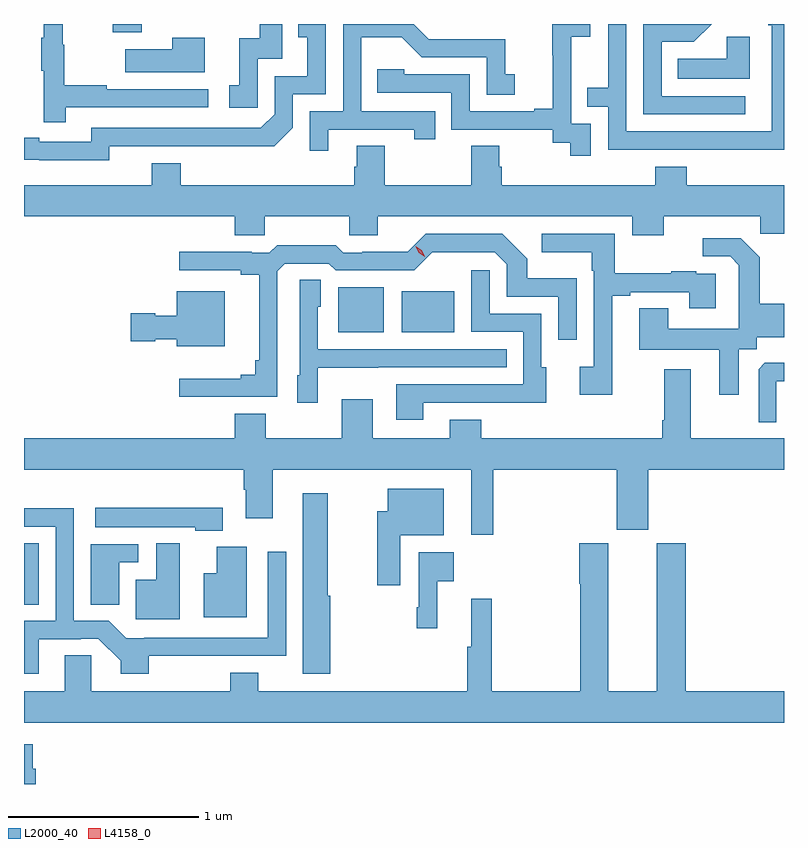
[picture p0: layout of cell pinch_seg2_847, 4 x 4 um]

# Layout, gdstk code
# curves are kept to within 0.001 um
import gdstk
lib = gdstk.Library(unit=1e-6, precision=1e-09)
def R(c, l, rs):  # rectangles x0, y0, x1, y1
    for r in rs: c.add(gdstk.rectangle(r[:2], r[2:], *l))
def P(c, l, *ps):  # polygons
    for p in ps: c.add(gdstk.Polygon(p, *l))
L2000_40 = (2000, 40)
L4158_0 = (4158, 0)

pinch_seg2_847 = lib.new_cell('pinch_seg2_847')
R(pinch_seg2_847, L2000_40, [(585.907,592.312,585.985,592.637), (587.561,593.747,587.8,593.983), (587.894,593.747,588.172,593.962), (586.373,595.326,586.526,595.369)])
P(pinch_seg2_847, L2000_40, [(587.509,594.813),(587.96,594.813),(587.96,594.762),(588.071,594.762),(588.071,594.909),(587.682,594.909),(587.682,595.298),(587.896,595.298),(588,595.194),(588.342,595.194),(588.342,594.996),(588.49,594.996),(588.49,595.105),(588.441,595.105),(588.441,595.29),(588.037,595.29),(587.958,595.369),(587.586,595.369),(587.586,594.909),(587.412,594.909),(587.412,594.702),(587.509,594.702)],
  [(586.356,594.726),(587.224,594.725),(587.322,594.822),(587.322,594.999),(587.496,594.999),(587.496,595.369),(587.35,595.369),(587.35,595.299),(587.399,595.299),(587.399,595.095),(587.226,595.095),(587.226,594.894),(587.154,594.822),(586.26,594.822),(586.26,594.75),(585.988,594.75),(585.988,594.77),(585.907,594.77),(585.907,594.654),(586.356,594.653)],
  [(589.702,594.99),(589.263,594.99),(589.263,595.275),(589.432,595.275),(589.526,595.369),(589.167,595.369),(589.167,594.894),(589.702,594.894)],
  [(587.136,595.185),(587.265,595.185),(587.265,595.369),(587.149,595.369),(587.149,595.294),(587.039,595.294),(587.039,595.047),(586.986,595.047),(586.986,594.927),(587.136,594.927)],
  [(589.907,595.369),(589.823,595.369),(589.823,595.362),(589.842,595.362),(589.842,594.804),(589.077,594.804),(589.077,595.369),(588.981,595.369),(588.981,595.034),(588.871,595.034),(588.871,594.933),(588.981,594.933),(588.981,594.708),(589.477,594.708),(589.477,594.707),(589.907,594.707)],
  [(588.891,594.843),(588.786,594.843),(588.786,595.073),(588.788,595.073),(588.788,595.301),(588.886,595.301),(588.886,595.369),(588.688,595.369),(588.688,595.205),(588.689,595.205),(588.689,594.922),(588.593,594.922),(588.593,594.909),(588.252,594.909),(588.252,595.104),(587.907,595.104),(587.907,595.131),(587.767,595.131),(587.767,595.008),(588.156,595.008),(588.156,594.813),(588.69,594.813),(588.69,594.745),(588.783,594.745),(588.783,594.675),(588.891,594.675)],
  [(586.127,594.93),(586.876,594.93),(586.876,595.026),(586.343,595.026),(586.343,595.046),(586.12,595.046),(586.12,595.26),(586.112,595.26),(586.112,595.369),(586.01,595.369),(586.01,595.297),(585.999,595.297),(585.999,595.123),(586.01,595.123),(586.01,594.852),(586.127,594.852)],
  [(589.726,595.301),(589.605,595.301),(589.605,595.186),(589.348,595.186),(589.348,595.082),(589.726,595.082)],
  [(586.858,595.297),(586.688,595.297),(586.688,595.237),(586.439,595.237),(586.439,595.115),(586.858,595.115)],
  [(589.273,594.356),(589.783,594.356),(589.783,594.266),(589.907,594.266),(589.907,594.52),(589.394,594.52),(589.394,594.619),(589.229,594.619),(589.229,594.52),(588.422,594.52),(588.422,594.618),(588.409,594.618),(588.409,594.728),(588.262,594.728),(588.262,594.52),(587.805,594.52),(587.805,594.728),(587.657,594.728),(587.657,594.618),(587.645,594.618),(587.645,594.52),(586.733,594.52),(586.733,594.637),(586.58,594.637),(586.58,594.52),(585.907,594.52),(585.907,594.356),(587.015,594.356),(587.015,594.258),(587.175,594.258),(587.175,594.356),(587.62,594.356),(587.62,594.258),(587.77,594.258),(587.77,594.356),(589.109,594.356),(589.109,594.257),(589.273,594.257)],
  [(589.003,593.94),(589.099,593.94),(589.099,593.958),(589.409,593.958),(589.409,593.874),(589.549,593.874),(589.549,594.054),(589.445,594.054),(589.445,594.067),(589.313,594.067),(589.313,594.056),(589.015,594.056),(589.015,594.264),(588.633,594.264),(588.633,594.167),(588.894,594.167),(588.894,594.071),(588.906,594.071),(588.906,593.566),(588.831,593.566),(588.831,593.418),(589.003,593.418)],
  [(587.241,594.069),(587.28,594.108),(587.511,594.108),(587.547,594.072),(587.961,594.072),(588.056,594.167),(588.384,594.168),(588.447,594.105),(588.447,593.934),(588.72,593.934),(588.72,593.706),(588.816,593.706),(588.816,594.031),(588.555,594.031),(588.555,594.134),(588.424,594.264),(588.021,594.264),(587.927,594.17),(587.686,594.17),(587.686,594.165),(587.586,594.165),(587.547,594.205),(587.239,594.205),(587.199,594.165),(587.105,594.165),(587.105,594.17),(586.725,594.17),(586.725,594.072),(587.048,594.072),(587.048,594.05),(587.144,594.05),(587.144,593.599),(587.125,593.599),(587.125,593.522),(587.048,593.522),(587.048,593.503),(586.725,593.503),(586.725,593.406),(587.241,593.406)],
  [(589.669,593.656),(589.764,593.656),(589.764,593.72),(589.907,593.72),(589.907,593.896),(589.779,593.896),(589.779,594.141),(589.679,594.241),(589.479,594.241),(589.479,594.147),(589.623,594.147),(589.67,594.1),(589.67,594.005),(589.668,594.005),(589.668,593.764),(589.297,593.764),(589.297,593.873),(589.145,593.873),(589.145,593.654),(589.565,593.654),(589.565,593.418),(589.669,593.418)],
  [(588.007,593.376),(588.437,593.376),(588.437,593.375),(588.655,593.375),(588.655,593.562),(588.63,593.562),(588.63,593.844),(588.357,593.844),(588.357,594.073),(588.261,594.073),(588.261,593.748),(588.534,593.748),(588.534,593.472),(587.867,593.472),(587.867,593.286),(588.007,593.286)],
  [(587.454,593.561),(587.771,593.561),(587.771,593.562),(588.449,593.562),(588.449,593.658),(587.454,593.658),(587.454,593.88),(587.47,593.88),(587.47,594.023),(587.358,594.023),(587.358,593.52),(587.345,593.52),(587.345,593.376),(587.454,593.376)],
  [(586.963,593.962),(586.712,593.962),(586.712,593.833),(586.599,593.833),(586.599,593.846),(586.47,593.846),(586.47,593.699),(586.599,593.699),(586.599,593.711),(586.712,593.711),(586.712,593.672),(586.963,593.672)],
  [(589.866,593.49),(589.907,593.49),(589.907,593.585),(589.805,593.585),(589.773,593.553),(589.773,593.273),(589.866,593.273)],
  [(588.377,593.024),(589.028,593.024),(589.028,592.707),(589.192,592.707),(589.192,593.024),(589.907,593.024),(589.907,593.188),(589.417,593.188),(589.417,593.551),(589.277,593.551),(589.277,593.284),(589.265,593.284),(589.265,593.188),(588.313,593.188),(588.313,593.287),(588.149,593.287),(588.149,593.188),(587.743,593.188),(587.743,593.395),(587.579,593.395),(587.579,593.188),(587.179,593.188),(587.179,593.317),(587.015,593.317),(587.015,593.188),(585.907,593.188),(585.907,593.024),(587.063,593.024),(587.063,592.918),(587.075,592.918),(587.075,592.767),(587.215,592.767),(587.215,593.024),(588.26,593.024),(588.26,592.68),(588.377,592.68)],
  [(587.887,592.679),(588.115,592.679),(588.115,592.924),(587.822,592.924),(587.822,592.804),(587.765,592.804),(587.765,592.416),(587.887,592.416)],
  [(587.519,592.36),(587.506,592.36),(587.506,592.9),(587.375,592.9),(587.375,591.948),(587.519,591.948)],
  [(586.954,592.822),(586.281,592.822),(586.281,592.721),(586.809,592.721),(586.809,592.703),(586.954,592.703)],
  [(585.985,592.131),(586.205,592.131),(586.205,592.134),(586.299,592.134),(586.415,592.018),(586.415,591.95),(586.563,591.95),(586.563,592.043),(587.286,592.044),(587.286,592.591),(587.19,592.591),(587.19,592.14),(586.54,592.14),(586.54,592.137),(586.444,592.137),(586.354,592.227),(586.17,592.227),(586.17,592.82),(585.907,592.82),(585.907,592.722),(586.074,592.722),(586.074,592.227),(585.907,592.227),(585.907,591.948),(585.985,591.948)],
  [(586.726,592.636),(586.604,592.636),(586.604,592.444),(586.496,592.444),(586.496,592.235),(586.726,592.235)],
  [(589.907,591.856),(589.391,591.856),(589.391,592.635),(589.238,592.635),(589.238,591.856),(588.982,591.856),(588.982,592.635),(588.83,592.635),(588.83,592.423),(588.835,592.423),(588.835,591.856),(588.37,591.856),(588.37,592.345),(588.26,592.345),(588.26,592.092),(588.241,592.092),(588.241,591.856),(587.14,591.856),(587.14,591.955),(586.993,591.955),(586.993,591.856),(586.26,591.856),(586.26,592.046),(586.121,592.046),(586.121,591.856),(585.907,591.856),(585.907,591.692),(589.907,591.692)],
  [(586.408,592.536),(586.507,592.536),(586.507,592.632),(586.259,592.632),(586.259,592.312),(586.408,592.312)],
  [(587.08,592.618),(586.922,592.618),(586.922,592.477),(586.853,592.477),(586.853,592.247),(587.08,592.247)],
  [(588.083,592.436),(588.169,592.436),(588.169,592.588),(587.985,592.588),(587.985,592.3),(587.973,592.3),(587.973,592.188),(588.083,592.188)],
  [(585.97,591.45),(585.952,591.45),(585.952,591.577),(585.907,591.577),(585.907,591.369),(585.97,591.369)])
P(pinch_seg2_847, L4158_0, [(588.016,594.143),(587.985,594.165),(587.97,594.199),(587.97,594.199),(587.97,594.199),(588.001,594.178),(588.016,594.144),(588.016,594.143)])

lib.write_gds('pinch_seg2_847.gds')
